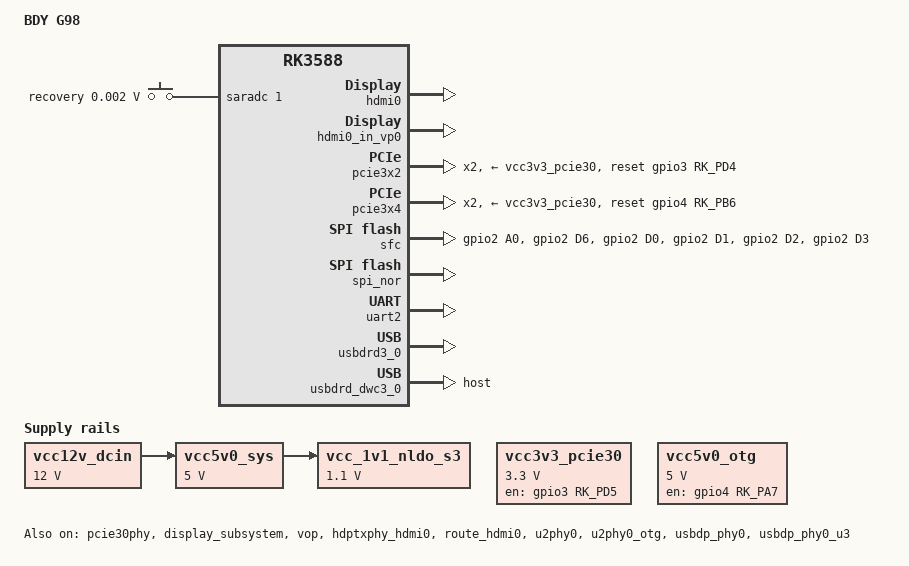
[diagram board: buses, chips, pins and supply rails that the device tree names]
// SPDX-License-Identifier: (GPL-2.0+ OR MIT)
/*
 * Minimal U-Boot device tree for the BDY G98.
 * Linux owns the complete peripheral description.
 */

/dts-v1/;

#include <dt-bindings/gpio/gpio.h>
#include <dt-bindings/input/input.h>
#include <dt-bindings/phy/phy-snps-pcie3.h>
#include <dt-bindings/pinctrl/rockchip.h>
#include "rockchip/rk3588.dtsi"
#include "rockchip/rk3588-u-boot.dtsi"
#include "rockchip/rk3588-rk806-single.dtsi"

/ {
	model = "BDY G98";
	compatible = "bdy,g98", "rockchip,rk3588";

	adc-keys {
		compatible = "adc-keys";
		io-channels = <&saradc 1>;
		io-channel-names = "buttons";
		keyup-threshold-microvolt = <1800000>;
		u-boot,dm-pre-reloc;
		status = "okay";

		recovery-key {
			u-boot,dm-pre-reloc;
			linux,code = <KEY_VOLUMEUP>;
			label = "recovery";
			press-threshold-microvolt = <1750>;
		};
	};

	aliases {
		serial2 = &uart2;
	};

	chosen {
		stdout-path = "serial2:1500000n8";
		u-boot,spl-boot-order = &spi_nor;
	};

	vcc12v_dcin: regulator-vcc12v-dcin {
		compatible = "regulator-fixed";
		regulator-name = "vcc12v_dcin";
		regulator-always-on;
		regulator-boot-on;
		regulator-min-microvolt = <12000000>;
		regulator-max-microvolt = <12000000>;
		u-boot,dm-pre-reloc;
	};

	vcc5v0_sys: regulator-vcc5v0-sys {
		compatible = "regulator-fixed";
		regulator-name = "vcc5v0_sys";
		regulator-always-on;
		regulator-boot-on;
		regulator-min-microvolt = <5000000>;
		regulator-max-microvolt = <5000000>;
		vin-supply = <&vcc12v_dcin>;
		u-boot,dm-pre-reloc;
	};

	vcc_1v1_nldo_s3: regulator-vcc-1v1-nldo-s3 {
		compatible = "regulator-fixed";
		regulator-name = "vcc_1v1_nldo_s3";
		regulator-always-on;
		regulator-boot-on;
		regulator-min-microvolt = <1100000>;
		regulator-max-microvolt = <1100000>;
		vin-supply = <&vcc5v0_sys>;
		u-boot,dm-pre-reloc;
	};
	vcc3v3_pcie30: regulator-vcc3v3-pcie30 {
		compatible = "regulator-fixed";
		regulator-name = "vcc3v3_pcie30";
		regulator-always-on;
		regulator-boot-on;
		regulator-min-microvolt = <3300000>;
		regulator-max-microvolt = <3300000>;
		enable-active-high;
		gpio = <&gpio3 RK_PD5 GPIO_ACTIVE_HIGH>;
		startup-delay-us = <7500>;
		u-boot,dm-pre-reloc;
	};

	vcc5v0_otg: regulator-vcc5v0-otg {
		compatible = "regulator-fixed";
		regulator-name = "vcc5v0_otg";
		regulator-always-on;
		regulator-boot-on;
		regulator-min-microvolt = <5000000>;
		regulator-max-microvolt = <5000000>;
		enable-active-high;
		gpio = <&gpio4 RK_PA7 GPIO_ACTIVE_HIGH>;
		u-boot,dm-pre-reloc;
	};
};

&pcie30phy {
	rockchip,pcie30-phymode = <PHY_MODE_PCIE_NANBNB>;
	status = "okay";
	u-boot,dm-pre-reloc;
};

&display_subsystem {
	clocks = <&hdptxphy_hdmi_clk0>;
	clock-names = "hdmi0_phy_pll";
	status = "okay";
	u-boot,dm-pre-reloc;
};

&sys_grf {
	u-boot,dm-pre-reloc;
};

&hclk_vo1 {
	u-boot,dm-pre-reloc;
};

&pclk_vo1_grf {
	u-boot,dm-pre-reloc;
};

&vop_opp_table {
	u-boot,dm-pre-reloc;
};

&vop_grf {
	u-boot,dm-pre-reloc;
};

&vop_out {
	u-boot,dm-pre-reloc;
};

&vop_mmu {
	u-boot,dm-pre-reloc;
};

&vop {
	u-boot,dm-pre-reloc;
};

&hdmi0_in {
	u-boot,dm-pre-reloc;
};

&hdptxphy_hdmi_clk0 {
	u-boot,dm-pre-reloc;
};

&vp0_out_hdmi0 {
	u-boot,dm-pre-reloc;
};

&hdmim0_tx0_cec {
	u-boot,dm-pre-reloc;
};

&hdmim0_tx0_hpd {
	u-boot,dm-pre-reloc;
};

&hdmim0_tx0_scl {
	u-boot,dm-pre-reloc;
};

&hdptxphy0_grf {
	u-boot,dm-pre-reloc;
};

&vo1_grf {
	u-boot,dm-pre-reloc;
};

&hdmi0 {
	enable-gpios = <&gpio4 RK_PB1 GPIO_ACTIVE_HIGH>;
	status = "okay";
	u-boot,dm-pre-reloc;
};

&hdmi0_in_vp0 {
	status = "okay";
	u-boot,dm-pre-reloc;
};

&hdptxphy_hdmi0 {
	status = "okay";
	u-boot,dm-pre-reloc;
};

&pcie3x2 {
	num-lanes = <2>;
	reset-gpios = <&gpio3 RK_PD4 GPIO_ACTIVE_HIGH>;
	vpcie3v3-supply = <&vcc3v3_pcie30>;
	status = "okay";
	u-boot,dm-pre-reloc;
};

&pcie3x4 {
	num-lanes = <2>;
	reset-gpios = <&gpio4 RK_PB6 GPIO_ACTIVE_HIGH>;
	vpcie3v3-supply = <&vcc3v3_pcie30>;
	status = "okay";
	u-boot,dm-pre-reloc;
};

&pinctrl {
	/delete-node/ fspi;

	fspi {
		u-boot,dm-spl;

		fspim0_pins: fspim0-pins {
			rockchip,pins =
				/* fspi_clk_m0 */
				<2 RK_PA0 2 &pcfg_pull_none>,
				/* fspi_cs0n_m0 */
				<2 RK_PD6 2 &pcfg_pull_none>,
				/* fspi_d0_m0 */
				<2 RK_PD0 2 &pcfg_pull_none>,
				/* fspi_d1_m0 */
				<2 RK_PD1 2 &pcfg_pull_none>,
				/* fspi_d2_m0 */
				<2 RK_PD2 2 &pcfg_pull_none>,
				/* fspi_d3_m0 */
				<2 RK_PD3 2 &pcfg_pull_none>;
			u-boot,dm-spl;
		};
	};
};

&sdhci {
	status = "disabled";
};

&sdmmc {
	status = "disabled";
};

&sfc {
	pinctrl-names = "default";
	pinctrl-0 = <&fspim0_pins>;
	status = "okay";
	u-boot,dm-spl;
};

&spi_nand {
	status = "disabled";
};

&spi_nor {
	spi-max-frequency = <24000000>;
	status = "okay";
	u-boot,dm-spl;
};

&route_hdmi0 {
	connect = <&vp0_out_hdmi0>;
	status = "okay";
	u-boot,dm-pre-reloc;
};

&uart2 {
	status = "okay";
	u-boot,dm-spl;
};

&u2phy0 {
	status = "okay";
};

&u2phy0_otg {
	phy-supply = <&vcc5v0_otg>;
	status = "okay";
};

&usbdp_phy0 {
	status = "okay";
};

&usbdp_phy0_u3 {
	status = "okay";
};

&usbdrd3_0 {
	status = "okay";
};

&usbdrd_dwc3_0 {
	dr_mode = "host";
	status = "okay";
};

&vop {
	status = "okay";
	u-boot,dm-pre-reloc;
};

&vop_mmu {
	status = "okay";
	u-boot,dm-pre-reloc;
};

&vp0 {
	u-boot,dm-pre-reloc;
};
